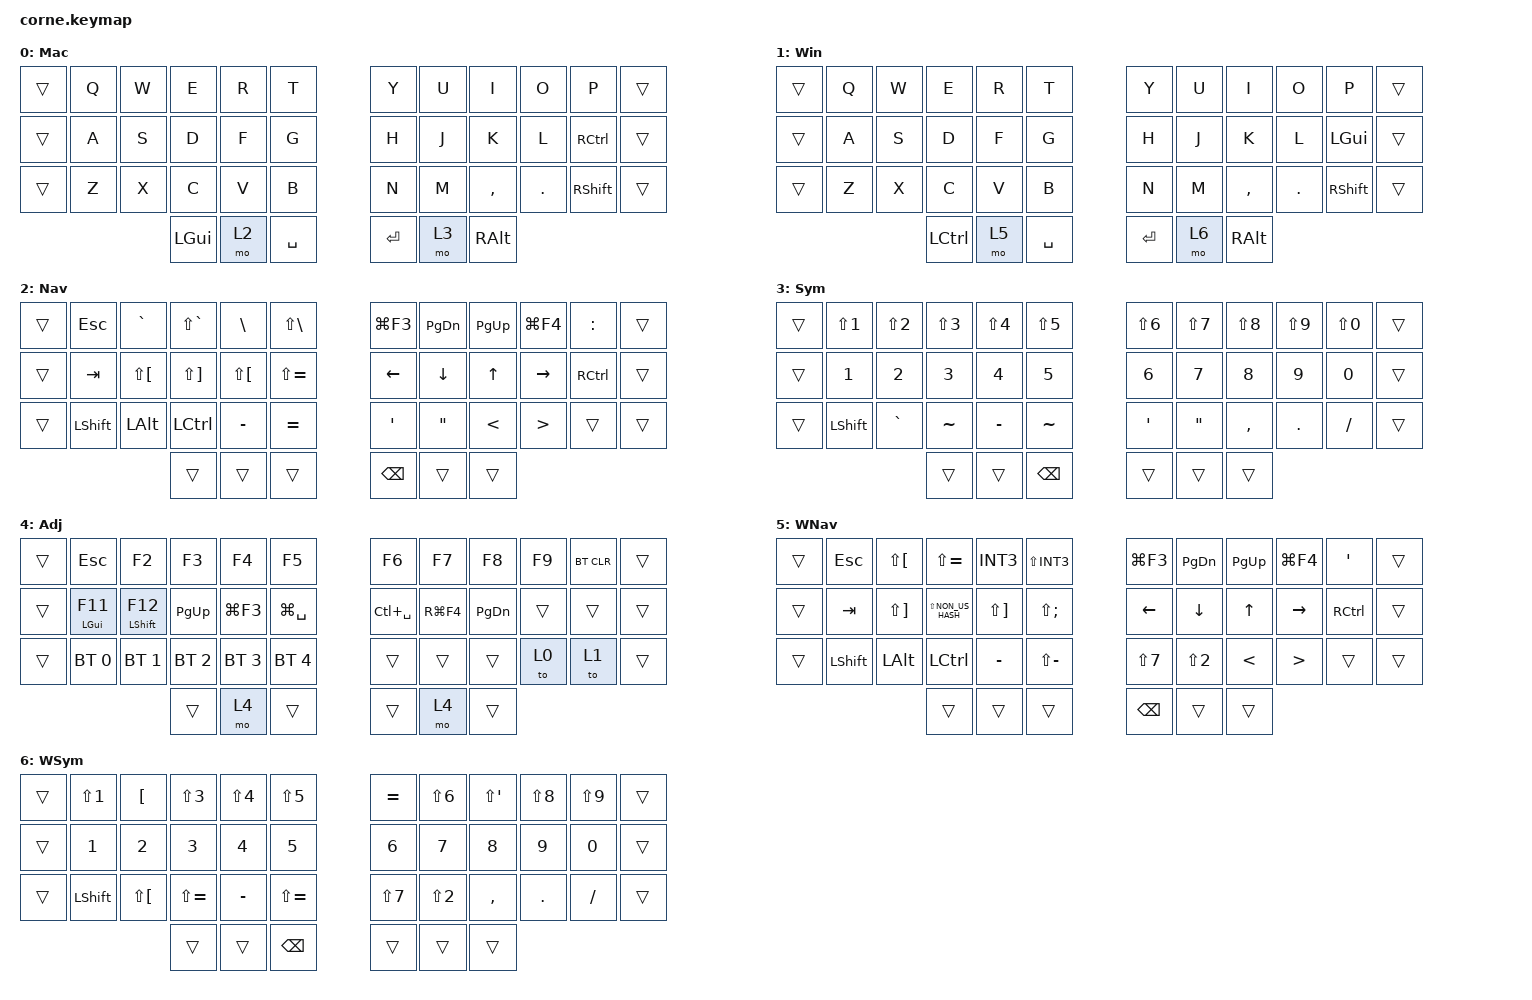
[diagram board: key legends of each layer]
#include <behaviors.dtsi>
#include <dt-bindings/zmk/bt.h>
#include <dt-bindings/zmk/keys.h>

#define DEF 0
#define WIN 1
#define NAV 2
#define SYM 3
#define ADJ 4
#define WNAV 5
#define WSYM 6

//testing mouse movement and scroll binds...

/ {
    behaviors {
        hm: homerow_mods {
            compatible = "zmk,behavior-hold-tap";
            label = "HOMEROW_MODS";
            #binding-cells = <2>;
            tapping-term-ms = <200>;
            quick_tap_ms = <0>;
            flavor = "tap-preferred";
            bindings = <&kp>, <&kp>;

            quick-tap-ms = <180>;
            global-quick-tap;
        };

        para: para {
            compatible = "zmk,behavior-tap-dance";
            label = "PARA";
            #binding-cells = <0>;
            bindings = <&kp LEFT_PARENTHESIS>, <&kp RIGHT_PARENTHESIS>;
        };

        caps: caps {
            compatible = "zmk,behavior-caps-word";
            label = "CAPS";
            #binding-cells = <0>;
            continue-list = <MINUS BACKSPACE>;
        };

        paraless: paraless {
            compatible = "zmk,behavior-mod-morph";
            label = "PARALESS";
            bindings = <&kp LEFT_PARENTHESIS>, <&kp LESS_THAN>;

            #binding-cells = <0>;
            mods = <(MOD_LSFT)>;
        };

        paragreat: paragreat {
            compatible = "zmk,behavior-mod-morph";
            label = "PARAGREAT";
            bindings = <&kp RIGHT_PARENTHESIS>, <&kp GREATER_THAN>;

            #binding-cells = <0>;
            mods = <(MOD_LSFT)>;
        };

        // JIS-OS variants: send keycodes that produce US glyphs on a JIS-recognized OS

        paraless_jis: paraless_jis {
            compatible = "zmk,behavior-mod-morph";
            label = "PARALESS_JIS";
            bindings = <&kp LS(N8)>, <&kp LESS_THAN>;

            #binding-cells = <0>;
            mods = <(MOD_LSFT)>;
        };

        paragreat_jis: paragreat_jis {
            compatible = "zmk,behavior-mod-morph";
            label = "PARAGREAT_JIS";
            bindings = <&kp LS(N9)>, <&kp GREATER_THAN>;

            #binding-cells = <0>;
            mods = <(MOD_LSFT)>;
        };
    };

    combos {
        compatible = "zmk,combos";

        escape {
            bindings = <&kp ESCAPE>;
            key-positions = <13 29>;
        };

        delete {
            bindings = <&kp DELETE>;
            key-positions = <15 21>;
        };

        perc {
            bindings = <&kp PERCENT>;
            key-positions = <5 17>;
        };

        dollar {
            bindings = <&kp DOLLAR>;
            key-positions = <4 16>;
        };

        pound {
            bindings = <&kp POUND>;
            key-positions = <3 15>;
        };

        copy {
            bindings = <&kp K_COPY>;
            key-positions = <28 27>;
        };

        paste {
            bindings = <&kp K_PASTE>;
            key-positions = <26 27>;
        };

        slash {
            bindings = <&kp SLASH>;
            key-positions = <32 20>;
        };

        minus {
            bindings = <&kp KP_MINUS>;
            key-positions = <31 19>;
        };

        // US-layout OS (Mac) symbol combos

        equal {
            bindings = <&kp EQUAL>;
            key-positions = <28 16>;
            layers = <0 2 3>;
        };

        at {
            bindings = <&kp AT>;
            key-positions = <2 14>;
            layers = <0 2 3>;
        };

        backslash {
            bindings = <&kp BACKSLASH>;
            key-positions = <26 14>;
            layers = <0 2 3>;
        };

        star {
            bindings = <&kp STAR>;
            key-positions = <8 20>;
            layers = <0 2 3>;
        };

        plus {
            bindings = <&kp PLUS>;
            key-positions = <7 19>;
            layers = <0 2 3>;
        };

        underscore {
            bindings = <&kp UNDER>;
            key-positions = <30 18>;
            layers = <0 2 3>;
        };

        leftbrack {
            bindings = <&kp LEFT_BRACKET>;
            key-positions = <31 32>;
            layers = <0 2 3>;
        };

        rightbrack {
            bindings = <&kp RIGHT_BRACKET>;
            key-positions = <33 32>;
            layers = <0 2 3>;
        };

        para-less {
            bindings = <&paraless>;
            key-positions = <20 19>;
            layers = <0 2 3>;
        };

        para-great {
            bindings = <&paragreat>;
            key-positions = <20 21>;
            layers = <0 2 3>;
        };

        // JIS-recognized OS (Win) symbol combos — same positions, JIS keycodes

        equal_win {
            bindings = <&kp LS(MINUS)>;
            key-positions = <28 16>;
            layers = <1 5 6>;
        };

        at_win {
            bindings = <&kp LBKT>;
            key-positions = <2 14>;
            layers = <1 5 6>;
        };

        backslash_win {
            bindings = <&kp INT3>;
            key-positions = <26 14>;
            layers = <1 5 6>;
        };

        star_win {
            bindings = <&kp LS(SQT)>;
            key-positions = <8 20>;
            layers = <1 5 6>;
        };

        plus_win {
            bindings = <&kp LS(SEMI)>;
            key-positions = <7 19>;
            layers = <1 5 6>;
        };

        underscore_win {
            bindings = <&kp LS(INT1)>;
            key-positions = <30 18>;
            layers = <1 5 6>;
        };

        leftbrack_win {
            bindings = <&kp RBKT>;
            key-positions = <31 32>;
            layers = <1 5 6>;
        };

        rightbrack_win {
            bindings = <&kp NON_US_HASH>;
            key-positions = <33 32>;
            layers = <1 5 6>;
        };

        para-less-win {
            bindings = <&paraless_jis>;
            key-positions = <20 19>;
            layers = <1 5 6>;
        };

        para-great-win {
            bindings = <&paragreat_jis>;
            key-positions = <20 21>;
            layers = <1 5 6>;
        };
    };

    //

    keymap {
        compatible = "zmk,keymap";

        DEF_MAC {
            display-name = "Mac";

            // -----------------------------------------------------------------------------------------
            // |  Q  |  W  |  E  |  R  |  T  |   |  Y  |  U   |  I  |  O  |  P  |
            // |  A  |  S  |  D  |  F  |  G  |   |  H  |  J   |  K  |  L  |  ;  |
            // |  Z  |  X  |  C  |  V  |  B  |   |  N  |  M   |  ,  |  .  |  /  |
            // | GUI | CTRL | SHFT | LWR | SPC |   | ENT | RSE  | BKSP | ALT | ESC |

            bindings = <
&trans  &kp Q  &kp W  &kp E     &kp R  &kp T        &kp Y      &kp U  &kp I      &kp O    &kp P      &trans
&trans  &kp A  &kp S  &kp D     &kp F  &kp G        &kp H      &kp J  &kp K      &kp L    &kp RCTRL  &trans
&trans  &kp Z  &kp X  &kp C     &kp V  &kp B        &kp N      &kp M  &kp COMMA  &kp DOT  &kp RSHFT  &trans
                      &kp LGUI  &mo 2  &kp SPACE    &kp ENTER  &mo 3  &kp RALT
            >;
        };

        WIN_DEF {
            display-name = "Win";
            bindings = <
&trans  &kp Q  &kp W  &kp E      &kp R  &kp T        &kp Y    &kp U  &kp I      &kp O    &kp P      &trans
&trans  &kp A  &kp S  &kp D      &kp F  &kp G        &kp H    &kp J  &kp K      &kp L    &kp LGUI   &trans
&trans  &kp Z  &kp X  &kp C      &kp V  &kp B        &kp N    &kp M  &kp COMMA  &kp DOT  &kp RSHFT  &trans
                      &kp LCTRL  &mo 5  &kp SPACE    &kp RET  &mo 6  &kp RALT
            >;
        };

        NAV {
            display-name = "Nav";

            // -----------------------------------------------------------------------------------------
            // |  TAB |  1  |  2  |  3  |  4  |  5  |   |  6  |  7  |  8  |  9  |  0  | BKSP |
            // | BTCLR| BT1 | BT2 | BT3 | BT4 | BT5 |   | LFT | DWN |  UP | RGT |     |      |
            // | SHFT |     |     |     |     |     |   |     |     |     |     |     |      |
            // | GUI | CTRL | SHFT | LWR | SPC |   | ENT | RSE  | BKSP | ALT | ESC |

            bindings = <
&trans  &kp ESC    &kp GRAVE     &kp LS(GRAVE)  &kp BSLH      &kp LS(BSLH)     &kp LG(F3)      &kp PG_DN  &kp PG_UP     &kp LG(F4)  &kp COLON  &trans
&trans  &kp TAB    &kp LS(LBKT)  &kp LS(RBKT)   &kp LS(LBKT)  &kp LS(EQUAL)    &kp LEFT_ARROW  &kp DOWN   &kp UP_ARROW  &kp RIGHT   &kp RCTRL  &trans
&trans  &kp LSHFT  &kp LALT      &kp LCTRL      &kp MINUS     &kp EQUAL        &kp SQT         &kp DQT    &kp LT        &kp GT      &trans     &trans
                                 &trans         &trans        &trans           &kp BACKSPACE   &trans     &trans
            >;
        };

        SYM {
            display-name = "Sym";

            // -----------------------------------------------------------------------------------------
            // |  TAB |  !  |  @  |  #  |  $  |  %  |   |  ^  |  &  |  *  |  (  |  )  | BKSP |
            // | CTRL |     |     |     |     |     |   |  -  |  =  |  [  |  ]  |  \  |  `   |
            // | SHFT |     |     |     |     |     |   |  _  |  +  |  {  |  }  | "|" |  ~   |
            //                    | GUI |     | SPC |   | ENT |     | ALT |

            bindings = <
&trans  &kp LS(N1)  &kp LS(N2)  &kp LS(N3)  &kp LS(N4)  &kp LS(N5)       &kp LS(N6)  &kp LS(N7)  &kp LS(N8)  &kp LS(N9)  &kp LS(N0)  &trans
&trans  &kp N1      &kp N2      &kp N3      &kp N4      &kp N5           &kp N6      &kp N7      &kp N8      &kp N9      &kp N0      &trans
&trans  &kp LSHFT   &kp GRAVE   &kp TILDE   &kp MINUS   &kp TILDE        &kp SQT     &kp DQT     &kp COMMA   &kp DOT     &kp FSLH    &trans
                                &trans      &trans      &kp BACKSPACE    &trans      &trans      &trans
            >;
        };

        ADJ {
            display-name = "Adj";
            bindings = <
&trans  &kp ESC       &kp F2         &kp F3        &kp F4        &kp F5           &kp F6         &kp F7      &kp F8         &kp F9  &bt BT_CLR  &trans
&trans  &hm LGUI F11  &hm LSHFT F12  &kp PAGE_UP   &kp LG(F3)    &kp LG(SPACE)    &kp LC(SPACE)  &kp RG(F4)  &kp PAGE_DOWN  &trans  &trans      &trans
&trans  &bt BT_SEL 0  &bt BT_SEL 1   &bt BT_SEL 2  &bt BT_SEL 3  &bt BT_SEL 4     &trans         &trans      &trans         &to 0   &to 1       &trans
                                     &trans        &mo 4         &trans           &trans         &mo 4       &trans
            >;
        };

        WIN_NAV {
            display-name = "WNav";

            // Same as Nav, but sends JIS keycodes so a JIS-recognized OS types US glyphs

            bindings = <
&trans  &kp ESC    &kp LS(LBKT)  &kp LS(EQUAL)        &kp INT3      &kp LS(INT3)     &kp LG(F3)      &kp PG_DN   &kp PG_UP     &kp LG(F4)  &kp SQT    &trans
&trans  &kp TAB    &kp LS(RBKT)  &kp LS(NON_US_HASH)  &kp LS(RBKT)  &kp LS(SEMI)     &kp LEFT_ARROW  &kp DOWN    &kp UP_ARROW  &kp RIGHT   &kp RCTRL  &trans
&trans  &kp LSHFT  &kp LALT      &kp LCTRL            &kp MINUS     &kp LS(MINUS)    &kp LS(N7)      &kp LS(N2)  &kp LT        &kp GT      &trans     &trans
                                 &trans               &trans        &trans           &kp BACKSPACE   &trans      &trans
            >;
        };

        WIN_SYM {
            display-name = "WSym";

            // Same as Sym, but sends JIS keycodes so a JIS-recognized OS types US glyphs

            bindings = <
&trans  &kp LS(N1)  &kp LBKT      &kp LS(N3)     &kp LS(N4)  &kp LS(N5)       &kp EQUAL   &kp LS(N6)  &kp LS(SQT)  &kp LS(N8)  &kp LS(N9)  &trans
&trans  &kp N1      &kp N2        &kp N3         &kp N4      &kp N5           &kp N6      &kp N7      &kp N8       &kp N9      &kp N0      &trans
&trans  &kp LSHFT   &kp LS(LBKT)  &kp LS(EQUAL)  &kp MINUS   &kp LS(EQUAL)    &kp LS(N7)  &kp LS(N2)  &kp COMMA    &kp DOT     &kp FSLH    &trans
                                  &trans         &trans      &kp BACKSPACE    &trans      &trans      &trans
            >;
        };
    };

    conditional_layers {
        compatible = "zmk,conditional-layers";

        ADJ {
            if-layers = <2 3>;
            then-layer = <4>;
        };

        ADJ_WIN {
            if-layers = <5 6>;
            then-layer = <4>;
        };
    };
};
